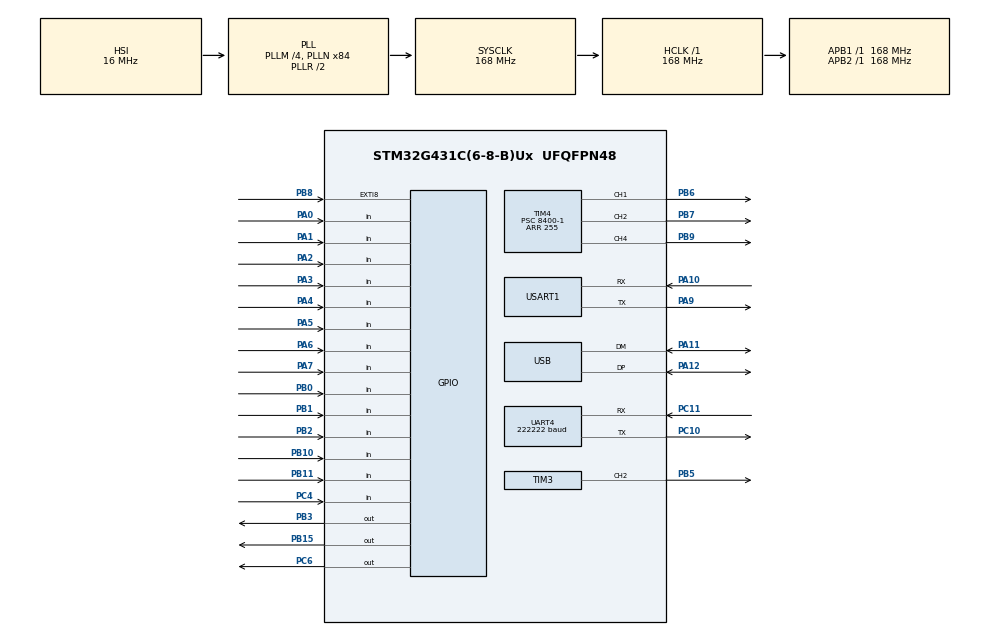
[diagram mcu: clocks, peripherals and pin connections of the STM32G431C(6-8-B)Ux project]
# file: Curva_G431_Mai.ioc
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AL94.I-CUBE-USBD-COMPOSITE.1.0.3.CompositeCcUSBJjCOMPOSITEJjCDCIiACM=true
AL94.I-CUBE-USBD-COMPOSITE.1.0.3.CompositeCcUSBJjCOMPOSITEJjCOMPOSITE=true
AL94.I-CUBE-USBD-COMPOSITE.1.0.3.CompositeCcUSBJjCOMPOSITEJjCore=true
AL94.I-CUBE-USBD-COMPOSITE.1.0.3.CompositeCcUSBJjCOMPOSITEJjHIDIiKEYBOARD=true
AL94.I-CUBE-USBD-COMPOSITE.1.0.3._STM32F1_DEVICE=true
AL94.I-CUBE-USBD-COMPOSITE.1.0.3._USBD_USE_CDC_ACM=true
AL94.I-CUBE-USBD-COMPOSITE.1.0.3._USBD_USE_HID_KEYBOARD=true
Dma.Request0=TIM3_CH2
Dma.Request1=UART4_RX
Dma.Request2=USART1_RX
Dma.Request3=USART1_TX
Dma.TIM3_CH2.0.Direction=DMA_MEMORY_TO_PERIPH
Dma.TIM3_CH2.0.EventEnable=DISABLE
Dma.TIM3_CH2.0.Instance=DMA1_Channel1
Dma.TIM3_CH2.0.MemDataAlignment=DMA_MDATAALIGN_HALFWORD
Dma.TIM3_CH2.0.MemInc=DMA_MINC_ENABLE
Dma.TIM3_CH2.0.Mode=DMA_NORMAL
Dma.TIM3_CH2.0.PeriphDataAlignment=DMA_PDATAALIGN_WORD
Dma.TIM3_CH2.0.PeriphInc=DMA_PINC_DISABLE
Dma.TIM3_CH2.0.Polarity=HAL_DMAMUX_REQ_GEN_RISING
Dma.TIM3_CH2.0.Priority=DMA_PRIORITY_VERY_HIGH
Dma.TIM3_CH2.0.RequestNumber=1
Dma.TIM3_CH2.0.SignalID=NONE
Dma.TIM3_CH2.0.SyncEnable=DISABLE
Dma.TIM3_CH2.0.SyncPolarity=HAL_DMAMUX_SYNC_NO_EVENT
Dma.TIM3_CH2.0.SyncRequestNumber=1
Dma.TIM3_CH2.0.SyncSignalID=NONE
Dma.UART4_RX.1.Direction=DMA_PERIPH_TO_MEMORY
Dma.UART4_RX.1.EventEnable=DISABLE
Dma.UART4_RX.1.Instance=DMA2_Channel1
Dma.UART4_RX.1.MemDataAlignment=DMA_MDATAALIGN_BYTE
Dma.UART4_RX.1.MemInc=DMA_MINC_ENABLE
Dma.UART4_RX.1.Mode=DMA_NORMAL
Dma.UART4_RX.1.PeriphDataAlignment=DMA_PDATAALIGN_BYTE
Dma.UART4_RX.1.PeriphInc=DMA_PINC_DISABLE
Dma.UART4_RX.1.Polarity=HAL_DMAMUX_REQ_GEN_RISING
Dma.UART4_RX.1.Priority=DMA_PRIORITY_VERY_HIGH
Dma.UART4_RX.1.RequestNumber=1
Dma.UART4_RX.1.SignalID=NONE
Dma.UART4_RX.1.SyncEnable=DISABLE
Dma.UART4_RX.1.SyncPolarity=HAL_DMAMUX_SYNC_NO_EVENT
Dma.UART4_RX.1.SyncRequestNumber=1
Dma.UART4_RX.1.SyncSignalID=NONE
Dma.USART1_RX.2.Direction=DMA_PERIPH_TO_MEMORY
Dma.USART1_RX.2.EventEnable=DISABLE
Dma.USART1_RX.2.Instance=DMA1_Channel2
Dma.USART1_RX.2.MemDataAlignment=DMA_MDATAALIGN_BYTE
Dma.USART1_RX.2.MemInc=DMA_MINC_ENABLE
Dma.USART1_RX.2.Mode=DMA_NORMAL
Dma.USART1_RX.2.PeriphDataAlignment=DMA_PDATAALIGN_BYTE
Dma.USART1_RX.2.PeriphInc=DMA_PINC_DISABLE
Dma.USART1_RX.2.Polarity=HAL_DMAMUX_REQ_GEN_RISING
Dma.USART1_RX.2.Priority=DMA_PRIORITY_HIGH
Dma.USART1_RX.2.RequestNumber=1
Dma.USART1_RX.2.SignalID=NONE
Dma.USART1_RX.2.SyncEnable=DISABLE
Dma.USART1_RX.2.SyncPolarity=HAL_DMAMUX_SYNC_NO_EVENT
Dma.USART1_RX.2.SyncRequestNumber=1
Dma.USART1_RX.2.SyncSignalID=NONE
Dma.USART1_TX.3.Direction=DMA_MEMORY_TO_PERIPH
Dma.USART1_TX.3.EventEnable=DISABLE
Dma.USART1_TX.3.Instance=DMA1_Channel3
Dma.USART1_TX.3.MemDataAlignment=DMA_MDATAALIGN_BYTE
Dma.USART1_TX.3.MemInc=DMA_MINC_ENABLE
Dma.USART1_TX.3.Mode=DMA_NORMAL
Dma.USART1_TX.3.PeriphDataAlignment=DMA_PDATAALIGN_BYTE
Dma.USART1_TX.3.PeriphInc=DMA_PINC_DISABLE
Dma.USART1_TX.3.Polarity=HAL_DMAMUX_REQ_GEN_RISING
Dma.USART1_TX.3.Priority=DMA_PRIORITY_MEDIUM
Dma.USART1_TX.3.RequestNumber=1
Dma.USART1_TX.3.SignalID=NONE
Dma.USART1_TX.3.SyncEnable=DISABLE
Dma.USART1_TX.3.SyncPolarity=HAL_DMAMUX_SYNC_NO_EVENT
Dma.USART1_TX.3.SyncRequestNumber=1
Dma.USART1_TX.3.SyncSignalID=NONE
FREERTOS.Tasks01=TouchTask,0,256,Touch_Task,Default,NULL,Dynamic,NULL,NULL;ButtonTask,-3,128,Button_Task,Default,NULL,Dynamic,NULL,NULL;CommandTask,-1,384,Command_Task,Default,NULL,Dynamic,NULL,NULL;LEDTask,-3,256,LED_Task,Default,NULL,Dynamic,NULL,NULL;UsbTxTask,1,256,UsbTx_Task,Default,NULL,Dynamic,NULL,NULL
FREERTOS.configTOTAL_HEAP_SIZE=12288
FREERTOS.configUSE_NEWLIB_REENTRANT=1
Mcu.Family=STM32G4
Mcu.Name=STM32G431C(6-8-B)Ux
Mcu.Package=UFQFPN48
NVIC.DMA1_Channel1_IRQn=true\:5\:0\:false\:false\:true\:false\:false\:true\:true
NVIC.DMA1_Channel2_IRQn=true\:5\:0\:false\:false\:true\:true\:false\:true\:true
NVIC.DMA1_Channel3_IRQn=true\:5\:0\:false\:false\:true\:true\:false\:true\:true
NVIC.DMA2_Channel1_IRQn=true\:5\:0\:false\:false\:true\:false\:false\:true\:true
NVIC.EXTI9_5_IRQn=true\:5\:0\:false\:false\:true\:true\:true\:true\:true
NVIC.PriorityGroup=NVIC_PRIORITYGROUP_4
NVIC.TIM2_IRQn=true\:15\:0\:false\:false\:true\:false\:false\:true\:true
NVIC.TIM7_IRQn=true\:5\:0\:false\:false\:true\:true\:true\:true\:true
NVIC.TimeBase=TIM2_IRQn
NVIC.TimeBaseIP=TIM2
NVIC.UART4_IRQn=true\:5\:0\:false\:false\:true\:true\:true\:true\:true
NVIC.USART1_IRQn=true\:5\:0\:false\:false\:true\:true\:true\:true\:true
NVIC.USB_HP_IRQn=true\:5\:0\:false\:true\:true\:1\:true\:true\:true\:true
NVIC.USB_LP_IRQn=true\:5\:0\:false\:true\:true\:2\:true\:true\:true\:true
PA0.GPIO_PuPd=GPIO_PULLUP
PA0.Signal=GPIO_Input
PA1.GPIO_PuPd=GPIO_PULLUP
PA1.Signal=GPIO_Input
PA10.Mode=Asynchronous
PA10.Signal=USART1_RX
PA11.Mode=Device
PA11.Signal=USB_DM
PA12.Mode=Device
PA12.Signal=USB_DP
PA13.Mode=Serial_Wire
PA13.Signal=SYS_JTMS-SWDIO
PA14.Mode=Serial_Wire
PA14.Signal=SYS_JTCK-SWCLK
PA2.GPIO_PuPd=GPIO_PULLUP
PA2.Signal=GPIO_Input
PA3.GPIO_PuPd=GPIO_PULLUP
PA3.Signal=GPIO_Input
PA4.GPIO_PuPd=GPIO_PULLUP
PA4.Signal=GPIO_Input
PA5.GPIO_PuPd=GPIO_PULLUP
PA5.Signal=GPIO_Input
PA6.GPIO_PuPd=GPIO_PULLUP
PA6.Signal=GPIO_Input
PA7.GPIO_PuPd=GPIO_PULLUP
PA7.Signal=GPIO_Input
PA9.Mode=Asynchronous
PA9.Signal=USART1_TX
PB0.GPIO_PuPd=GPIO_PULLUP
PB0.Signal=GPIO_Input
PB1.GPIO_PuPd=GPIO_PULLUP
PB1.Signal=GPIO_Input
PB10.GPIO_PuPd=GPIO_PULLUP
PB10.Signal=GPIO_Input
PB11.GPIO_PuPd=GPIO_PULLUP
PB11.Signal=GPIO_Input
PB15.Signal=GPIO_Output
PB2.GPIO_PuPd=GPIO_PULLUP
PB2.Signal=GPIO_Input
PB3.Signal=GPIO_Output
PB5.Signal=S_TIM3_CH2
PB6.Signal=S_TIM4_CH1
PB7.Signal=S_TIM4_CH2
PB8-BOOT0.Signal=GPXTI8
PB9.Signal=S_TIM4_CH4
PC10.Mode=Asynchronous
PC10.Signal=UART4_TX
PC11.Mode=Asynchronous
PC11.Signal=UART4_RX
PC4.GPIO_PuPd=GPIO_PULLUP
PC4.Signal=GPIO_Input
PC6.GPIO_PuPd=GPIO_PULLDOWN
PC6.Signal=GPIO_Output
ProjectManager.HeapSize=0x600
ProjectManager.StackSize=0x800
ProjectManager.TargetToolchain=STM32CubeIDE
RCC.ADC12Freq_Value=168000000
RCC.AHBFreq_Value=168000000
RCC.APB1Freq_Value=168000000
RCC.APB1TimFreq_Value=168000000
RCC.APB2Freq_Value=168000000
RCC.APB2TimFreq_Value=168000000
RCC.CK48CLockSelection=RCC_USBCLKSOURCE_HSI48
RCC.CortexFreq_Value=168000000
RCC.EXTERNAL_CLOCK_VALUE=12288000
RCC.HCLKFreq_Value=168000000
RCC.HSE_VALUE=8000000
RCC.HSI48_VALUE=48000000
RCC.HSI_VALUE=16000000
RCC.LSE_VALUE=32768
RCC.PLLM=RCC_PLLM_DIV4
RCC.PLLN=84
RCC.SYSCLKFreq_VALUE=168000000
RCC.SYSCLKSource=RCC_SYSCLKSOURCE_PLLCLK
RCC.USBFreq_Value=48000000
RCC.VCOOutputFreq_Value=336000000
SH.S_TIM3_CH2.0=TIM3_CH2,PWM Generation2 CH2
SH.S_TIM4_CH1.0=TIM4_CH1,PWM Generation1 CH1
SH.S_TIM4_CH2.0=TIM4_CH2,PWM Generation2 CH2
SH.S_TIM4_CH4.0=TIM4_CH4,PWM Generation4 CH4
TIM3.Channel-PWM\ Generation2\ CH2=TIM_CHANNEL_2
TIM3.PeriodNoDither=209
TIM4.Channel-PWM\ Generation1\ CH1=TIM_CHANNEL_1
TIM4.Channel-PWM\ Generation2\ CH2=TIM_CHANNEL_2
TIM4.Channel-PWM\ Generation4\ CH4=TIM_CHANNEL_4
TIM4.PeriodNoDither=255
TIM4.Prescaler=8400-1
TIM7.AutoReloadPreload=TIM_AUTORELOAD_PRELOAD_ENABLE
TIM7.PeriodNoDither=1000-1
TIM7.Prescaler=1680-1
TIM7.TIM_MasterOutputTrigger=TIM_TRGO_RESET
UART4.BaudRate=222222
USART1.VirtualMode-Asynchronous=VM_ASYNC
VP_AL94.I-CUBE-USBD-COMPOSITE_VS_USBJjComposite_1.0.0_1.0.3.Mode=USBJjComposite
VP_FREERTOS_VS_CMSIS_V1.Mode=CMSIS_V1
VP_SYS_VS_DBSignals.Mode=DisableDeadBatterySignals
VP_SYS_VS_tim2.Mode=TIM2
VP_TIM4_VS_ClockSourceINT.Mode=Internal
VP_TIM7_VS_ClockSourceINT.Mode=Enable_Timer
board=custom

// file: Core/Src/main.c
/* USER CODE BEGIN Header */
/**
  ******************************************************************************
  * @file           : main.c
  * @brief          : Main program body
  ******************************************************************************
  * @attention
  *
  * Copyright (c) 2025 STMicroelectronics.
  * All rights reserved.
  *
  * This software is licensed under terms that can be found in the LICENSE file
  * in the root directory of this software component.
  * If no LICENSE file comes with this software, it is provided AS-IS.
  *
  ******************************************************************************
  */
/* USER CODE END Header */
#include "main.h"
#include "cmsis_os.h"
#include "dma.h"
#include "tim.h"
#include "usart.h"
#include "usb.h"
#include "gpio.h"

/* USER CODE BEGIN Includes */
#include "LED.h"
#include "dfu_jump.h"
#include "usb_device.h"
#include "flash.h"
#include "usbd_desc.h"
/* USER CODE END Includes */

void SystemClock_Config(void);
void MX_FREERTOS_Init(void);
static void MX_NVIC_Init(void);

int main(void)
{

  /* USER CODE BEGIN 1 */
  /* Check if DFU mode was requested before reset */
  if (Check_DFU_Request())
  {
    Enhanced_Jump_To_DFU_Mode();
  }
  /* USER CODE END 1 */

  /* MCU Configuration--------------------------------------------------------*/

  /* Reset of all peripherals, Initializes the Flash interface and the Systick. */
  HAL_Init();

  /* Configure the system clock */
  SystemClock_Config();

  /* Initialize all configured peripherals */
  MX_GPIO_Init();
  MX_DMA_Init();
  MX_TIM4_Init();
  MX_USART1_UART_Init();
  MX_TIM3_Init();
  MX_UART4_Init();
  MX_USB_PCD_Init();
  MX_TIM7_Init();

  /* Initialize interrupts */
  MX_NVIC_Init();
  /* USER CODE BEGIN 2 */
  flash_read(Flash.raw_flash);
  USBD_SetControllerRole((Flash.controller_role == 2u) ? 2u : 1u);
  MX_USB_DEVICE_Init();
  Board_TouchResetLine_Set(1u);
  FET_LED_Init();
  /* USER CODE END 2 */

  /* Call init function for freertos objects (in cmsis_os2.c) */
  MX_FREERTOS_Init();

  /* Start scheduler */
  osKernelStart();

  /* We should never get here as control is now taken by the scheduler */

  /* Infinite loop */
  while (1)
  {

  }
}

void SystemClock_Config(void)
{
  RCC_OscInitTypeDef RCC_OscInitStruct = {0};
  RCC_ClkInitTypeDef RCC_ClkInitStruct = {0};

  /** Configure the main internal regulator output voltage
  */
  HAL_PWREx_ControlVoltageScaling(PWR_REGULATOR_VOLTAGE_SCALE1_BOOST);

  /** Initializes the RCC Oscillators according to the specified parameters
  * in the RCC_OscInitTypeDef structure.
  */
  RCC_OscInitStruct.OscillatorType = RCC_OSCILLATORTYPE_HSI|RCC_OSCILLATORTYPE_HSI48;
  RCC_OscInitStruct.HSIState = RCC_HSI_ON;
  RCC_OscInitStruct.HSICalibrationValue = RCC_HSICALIBRATION_DEFAULT;
  RCC_OscInitStruct.HSI48State = RCC_HSI48_ON;
  RCC_OscInitStruct.PLL.PLLState = RCC_PLL_ON;
  RCC_OscInitStruct.PLL.PLLSource = RCC_PLLSOURCE_HSI;
  RCC_OscInitStruct.PLL.PLLM = RCC_PLLM_DIV4;
  RCC_OscInitStruct.PLL.PLLN = 84;
  RCC_OscInitStruct.PLL.PLLP = RCC_PLLP_DIV2;
  RCC_OscInitStruct.PLL.PLLQ = RCC_PLLQ_DIV2;
  RCC_OscInitStruct.PLL.PLLR = RCC_PLLR_DIV2;
  if (HAL_RCC_OscConfig(&RCC_OscInitStruct) != HAL_OK)
  {
    Error_Handler();
  }

  /** Initializes the CPU, AHB and APB buses clocks
  */
  RCC_ClkInitStruct.ClockType = RCC_CLOCKTYPE_HCLK|RCC_CLOCKTYPE_SYSCLK
                              |RCC_CLOCKTYPE_PCLK1|RCC_CLOCKTYPE_PCLK2;
  RCC_ClkInitStruct.SYSCLKSource = RCC_SYSCLKSOURCE_PLLCLK;
  RCC_ClkInitStruct.AHBCLKDivider = RCC_SYSCLK_DIV1;
  RCC_ClkInitStruct.APB1CLKDivider = RCC_HCLK_DIV1;
  RCC_ClkInitStruct.APB2CLKDivider = RCC_HCLK_DIV1;

  if (HAL_RCC_ClockConfig(&RCC_ClkInitStruct, FLASH_LATENCY_4) != HAL_OK)
  {
    Error_Handler();
  }
}

/**
  * @brief NVIC Configuration.
  * @retval None
  */
static void MX_NVIC_Init(void)
{
  /* USB_HP_IRQn interrupt configuration */
  HAL_NVIC_SetPriority(USB_HP_IRQn, 5, 0);
  HAL_NVIC_EnableIRQ(USB_HP_IRQn);
  /* USB_LP_IRQn interrupt configuration */
  HAL_NVIC_SetPriority(USB_LP_IRQn, 5, 0);
  HAL_NVIC_EnableIRQ(USB_LP_IRQn);
}

void HAL_TIM_PeriodElapsedCallback(TIM_HandleTypeDef *htim)
{
  if (htim->Instance == TIM2)
  {
    HAL_IncTick();
  }
}

void Error_Handler(void)
{
  __disable_irq();
  while (1)
  {
  }
}

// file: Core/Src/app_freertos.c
/* USER CODE BEGIN Header */
/**
  ******************************************************************************
  * File Name          : app_freertos.c
  * Description        : Code for freertos applications
  ******************************************************************************
  * @attention
  *
  * Copyright (c) 2025 STMicroelectronics.
  * All rights reserved.
  *
  * This software is licensed under terms that can be found in the LICENSE file
  * in the root directory of this software component.
  * If no LICENSE file comes with this software, it is provided AS-IS.
  *
  ******************************************************************************
  */
/* USER CODE END Header */

#include "FreeRTOS.h"
#include "queue.h"
#include "task.h"
#include "main.h"
#include "cmsis_os.h"

/* USER CODE BEGIN Includes */
#include "usb_device.h"
#include "usart.h"
#include "button.h"
#include "dma.h"
#include "tim.h"
#include "LED.h"
#include "usbd_cdc_acm_if.h"
#include "usbd_hid_custom_if.h"
#include "usbd_hid_keyboard.h"
#include "capsense.h"
#include "capsense_sim.h"
#include "flash.h"
#include "stack.h"
#include "dfu_jump.h"
#include "app_version.h"
#include "firmware_header.h"
#include "input_snapshot.h"
#include "serial_commands.h"
#include "serial_reports.h"
#include "usb_reporter.h"
#include "benchmark.h"
#include "debug_mode.h"
#include "app_state.h"
/* USER CODE END Includes */

/* USER CODE BEGIN PD */
#define TOUCH_REPORT_PERIOD_MS 1u
#define CAPSENSE_LED_ONLINE_HOLD_MS 300u
#define CAPSENSE_LED_ERROR_HOLD_MS 500u
#define CAPSENSE_LED_WAIT_BLINK_HALF_PERIOD_MS 500u
#define CAPSENSE_LED_ERROR_BLINK_HALF_PERIOD_MS 125u
const char VERSION[] = FIRMWARE_VERSION;

// Firmware Header instance placed in specific section
__attribute__((section(".fw_header"))) __attribute__((used))
const FirmwareHeader_t fw_header = {
    .magic = FW_HEADER_MAGIC,
    .version_major = FW_VER_MAJOR,
    .version_minor = FW_VER_MINOR,
    .version_patch = FW_VER_PATCH,
    .git_hash = FW_GIT_HASH,
    .build_timestamp = FW_BUILD_TIME,
    .crc32 = 0,
    .reserved = {0}
};

/* USER CODE END PD */

/* USER CODE BEGIN Variables */
volatile uint8_t touch_scan_flag = 0;
uint8_t player = 1;
uint8_t current_touch_status[34];
uint8_t current_button_status[2];
volatile uint8_t debug_flag = 0;
volatile uint8_t debug_stream_mode = SERIAL_DEBUG_STREAM_MODE_FOCUS;
volatile uint8_t debug_exit_reset_pending = 0u;
volatile uint32_t debug_exit_reset_deadline_ms = 0u;
/* USER CODE END Variables */
osThreadId TouchTaskHandle;
osThreadId ButtonTaskHandle;
osThreadId CommandTaskHandle;
osThreadId LEDTaskHandle;
osThreadId UsbTxTaskHandle;

/* USER CODE BEGIN FunctionPrototypes */
static void capsense_update_link_led(void);
/* USER CODE END FunctionPrototypes */

void Touch_Task(void const * argument);
void Button_Task(void const * argument);
void Command_Task(void const * argument);
void LED_Task(void const * argument);
void UsbTx_Task(void const * argument);

void MX_FREERTOS_Init(void); /* (MISRA C 2004 rule 8.1) */

static void capsense_update_link_led(void)
{
	uint32_t now = HAL_GetTick();
	uint32_t last_good_tick = 0;
	uint32_t last_error_tick = 0;
	uint8_t protocol_version = 0;
	GPIO_PinState led_state = GPIO_PIN_RESET;

	capsense_link_state_get(&last_good_tick, &last_error_tick, &protocol_version);

	if ((last_error_tick != 0u) &&
			((uint32_t)(now - last_error_tick) <= CAPSENSE_LED_ERROR_HOLD_MS)) {
		if (((now / CAPSENSE_LED_ERROR_BLINK_HALF_PERIOD_MS) & 0x01u) != 0u) {
			led_state = GPIO_PIN_SET;
		}
	} else if (protocol_version == 0u) {
		if (((now / CAPSENSE_LED_WAIT_BLINK_HALF_PERIOD_MS) & 0x01u) != 0u) {
			led_state = GPIO_PIN_SET;
		}
	} else if ((last_good_tick != 0u) &&
			((uint32_t)(now - last_good_tick) <= CAPSENSE_LED_ONLINE_HOLD_MS)) {
		led_state = GPIO_PIN_SET;
	}

	HAL_GPIO_WritePin(GPIOC, GPIO_PIN_6, led_state);
}

void MX_FREERTOS_Init(void) {
  /* USER CODE BEGIN Init */
  serial_command_init();
  input_snapshot_reset();
  UsbTxGuard_Init();
	if (LED_StateLockInit() == 0u) {
		Error_Handler();
	}
  if (usb_reporter_init() == 0u) {
	  Error_Handler();
  }
  usb_reporter_reset();

  /* USER CODE END Init */

  /* Create the thread(s) */
  /* definition and creation of TouchTask */
  osThreadDef(TouchTask, Touch_Task, osPriorityNormal, 0, 256);
  TouchTaskHandle = osThreadCreate(osThread(TouchTask), NULL);

  /* definition and creation of ButtonTask */
  osThreadDef(ButtonTask, Button_Task, osPriorityIdle, 0, 128);
  ButtonTaskHandle = osThreadCreate(osThread(ButtonTask), NULL);

  /* definition and creation of CommandTask */
  /* Command_Task executes a large command switch plus several reply builders.
   * The pre-debug stack budget was conservative but much safer in practice.
   */
  osThreadDef(CommandTask, Command_Task, osPriorityBelowNormal, 0, 384);
  CommandTaskHandle = osThreadCreate(osThread(CommandTask), NULL);

  /* definition and creation of LEDTask */
  osThreadDef(LEDTask, LED_Task, osPriorityIdle, 0, 256);
  LEDTaskHandle = osThreadCreate(osThread(LEDTask), NULL);

  /* definition and creation of UsbTxTask */
  osThreadDef(UsbTxTask, UsbTx_Task, osPriorityAboveNormal, 0, 256);
  UsbTxTaskHandle = osThreadCreate(osThread(UsbTxTask), NULL);
  if ((TouchTaskHandle == NULL) || (ButtonTaskHandle == NULL) || (CommandTaskHandle == NULL) ||
		  (LEDTaskHandle == NULL) || (UsbTxTaskHandle == NULL)) {
	  Error_Handler();
  }

}

void Touch_Task(void const * argument)
{
  /* USER CODE BEGIN Touch_Task */
	/* Infinite loop */
	HAL_GPIO_WritePin(GPIOC, GPIO_PIN_6, 0);
	HAL_GPIO_WritePin(GPIOB, GPIO_PIN_3, 1);
	flash_read(Flash.raw_flash);
	(void) flash_config_sanitize();
	player = Flash.controller_role;
	osDelay(1000);
	capsense_init();
	benchmark_counter_init();
	heart_beat_refresh();
	while(1)
	{
		osDelay(TOUCH_REPORT_PERIOD_MS);
		capsense_service_pending_reset();
		benchmark_emit_pending_event();
		if(!capsense_data_ready){
			HAL_GPIO_WritePin(GPIOB, GPIO_PIN_3, 1);
		}
		if(capsense_take_latest_snapshot()){
			capsense_check();
			stack_flow_touch(current_touch_status);
			capsense_input_snapshot_publish();
		} else if(capsense_handle_link_stale(HAL_GetTick())){
			/* No fresh frame: if the link went silent while a contact was held,
			 * release it so it does not latch forever (capsense_check only runs on
			 * a fresh frame). */
			stack_flow_touch(current_touch_status);
			capsense_input_snapshot_publish();
		}
		capsense_debug_service();
		capsense_update_link_led();
	}
  /* USER CODE END Touch_Task */
}

void Button_Task(void const * argument)
{
  /* USER CODE BEGIN Button_Task */
  /* Infinite loop */
	//mai_key
	osDelay(1000);
	button_init();
	memset(current_button_status, 0, sizeof(current_button_status));
	input_snapshot_publish_buttons(current_button_status, HAL_GetTick());
	while(1){
		osDelay(3);
		button_scan();
		capsense_sim_maybe_generate_buttons(button, HAL_GetTick());
		stack_flow_button(current_button_status);
		input_snapshot_publish_buttons(current_button_status, HAL_GetTick());
	}
  /* USER CODE END Button_Task */
}

void Command_Task(void const * argument)
{
  /* USER CODE BEGIN Command_Task */
  /* Infinite loop */
  serial_frame_t rx_frame;
  benchmark_counter_init();
	for(;;)
  {
	(void) ulTaskNotifyTake(pdTRUE, pdMS_TO_TICKS(5));
	(void) serial_command_drain_rx_stream();
	while (serial_command_pop(&rx_frame)) {
		if ((rx_frame.len != 0u) && (rx_frame.data[0] == 0xFFu)) {
			if (serial_protocol_frame_valid(rx_frame.data, rx_frame.len) == 0u) {
				continue;
			}
			serial_commands_process_frame(&rx_frame, benchmark_cycles64());
		} else {
			serial_commands_process_legacy_ascii(rx_frame.data, rx_frame.len);
		}
	}
	if ((debug_exit_reset_pending != 0u) &&
			((int32_t)(HAL_GetTick() - debug_exit_reset_deadline_ms) >= 0)) {
		debug_exit_reset_now();
	}
  }
  /* USER CODE END Command_Task */
}

void LED_Task(void const * argument)
{
  /* USER CODE BEGIN LED_Task */
  /* Infinite loop */
	LED_UART_Init();
	FET_LED_Init();
//	HAL_TIM_Base_Start_IT(&htim7);
	if (LED_StateLock() != 0u) {
		LED_StateMachineInit(HAL_GetTick());
		LED_StateUnlock();
	}
	while(1){
		if (LED_StateLock() != 0u) {
			/* Serial USB commands and this task share the LED engine. Hold one
			 * mutex across protocol updates, fades and DMA-buffer construction so
			 * a frame cannot be observed half-mutated. */
			LED_Task_ProcessPending();
			LED_ServiceStateMachine(HAL_GetTick());
			LED_ServiceFade();
			LED_ServiceRefresh();
			LED_StateUnlock();
		}
		osDelay(1);
	}
  /* USER CODE END LED_Task */
}

void UsbTx_Task(void const * argument)
{
  /* USER CODE BEGIN UsbTx_Task */
	(void) argument;

	for(;;){
		usb_reporter_service(debug_flag, debug_stream_mode,
				heart_beat_active(), touch_scan_flag,
				benchmark_quiet_active());
		osDelay(1);
	}
  /* USER CODE END UsbTx_Task */
}
